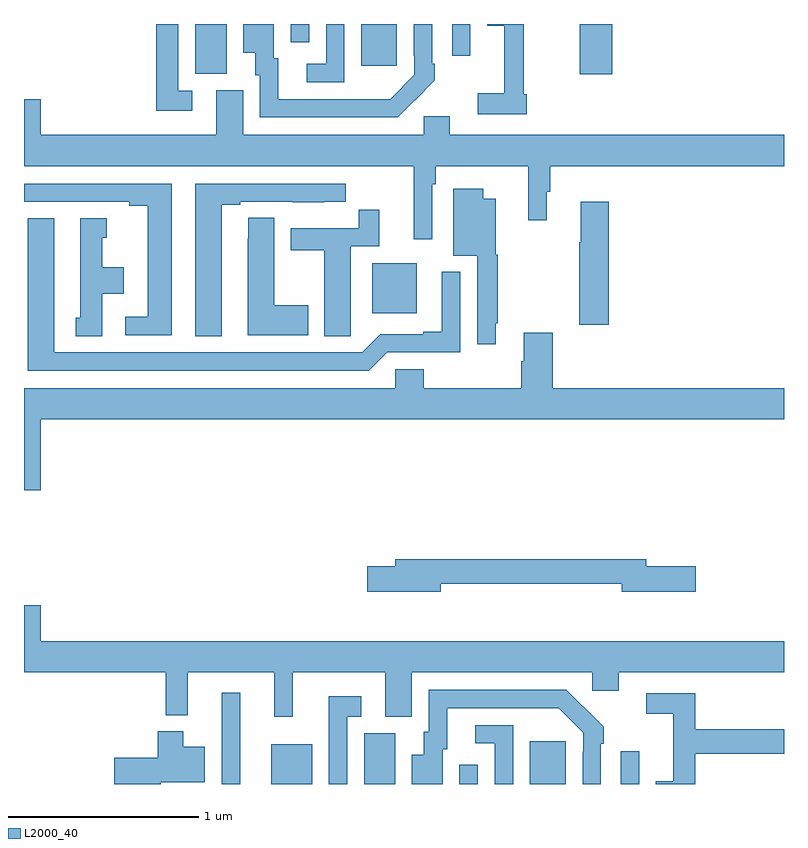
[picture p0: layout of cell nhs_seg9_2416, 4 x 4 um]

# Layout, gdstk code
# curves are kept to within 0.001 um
import gdstk
lib = gdstk.Library(unit=1e-6, precision=1e-09)
def R(c, l, rs):  # rectangles x0, y0, x1, y1
    for r in rs: c.add(gdstk.rectangle(r[:2], r[2:], *l))
def P(c, l, *ps):  # polygons
    for p in ps: c.add(gdstk.Polygon(p, *l))
L2000_40 = (2000, 40)

nhs_seg9_2416 = lib.new_cell('nhs_seg9_2416')
R(nhs_seg9_2416, L2000_40, [(250.041,1194.5,250.138,1194.979), (250.301,1194.5,250.516,1194.709), (250.79,1194.5,250.954,1194.768), (251.292,1194.5,251.388,1194.601), (251.663,1194.5,251.851,1194.724), (252.141,1194.5,252.237,1194.673), (250.832,1196.978,251.068,1197.241), (251.924,1198.236,252.095,1198.5), (249.902,1198.237,250.066,1198.5), (250.775,1198.281,250.963,1198.5), (251.253,1198.332,251.349,1198.5), (250.404,1198.404,250.5,1198.5)])
P(nhs_seg9_2416, L2000_40, [(249.886,1198.149),(249.813,1198.149),(249.813,1198.5),(249.697,1198.5),(249.697,1198.044),(249.886,1198.044)],
  [(251.645,1198.129),(251.63,1198.129),(251.63,1198.5),(251.438,1198.5),(251.438,1198.49),(251.528,1198.49),(251.528,1198.135),(251.388,1198.135),(251.388,1198.026),(251.645,1198.026)],
  [(251.057,1198.099),(251.058,1198.098),(251.163,1198.203),(251.163,1198.291),(251.148,1198.291),(251.148,1198.5),(251.052,1198.5),(251.052,1198.333),(251.055,1198.333),(251.055,1198.233),(250.927,1198.105),(250.823,1198.104),(250.339,1198.104),(250.339,1198.32),(250.315,1198.32),(250.315,1198.5),(250.154,1198.5),(250.154,1198.349),(250.217,1198.349),(250.217,1198.23),(250.242,1198.23),(250.242,1198.008),(250.966,1198.008)],
  [(250.686,1198.5),(250.59,1198.5),(250.59,1198.29),(250.488,1198.29),(250.488,1198.194),(250.686,1198.194)],
  [(251.148,1197.656),(251.168,1197.656),(251.168,1197.752),(251.653,1197.752),(251.653,1197.468),(251.752,1197.468),(251.752,1197.618),(251.771,1197.618),(251.771,1197.752),(253,1197.752),(253,1197.916),(251.242,1197.916),(251.242,1198.014),(251.103,1198.014),(251.103,1197.916),(250.153,1197.916),(250.153,1198.152),(250.013,1198.152),(250.013,1197.916),(249.088,1197.916),(249.088,1198.105),(249,1198.105),(249,1197.752),(251.051,1197.752),(251.051,1197.366),(251.148,1197.366)],
  [(250.042,1197.549),(250.138,1197.549),(250.138,1197.564),(250.414,1197.564),(250.414,1197.563),(250.58,1197.563),(250.58,1197.564),(250.693,1197.564),(250.693,1197.66),(249.902,1197.66),(249.902,1196.857),(250.042,1196.857)],
  [(249.778,1197.66),(249,1197.66),(249,1197.564),(249.554,1197.564),(249.554,1197.544),(249.65,1197.544),(249.65,1196.958),(249.534,1196.958),(249.534,1196.862),(249.778,1196.862)],
  [(251.482,1196.926),(251.494,1196.926),(251.494,1197.285),(251.482,1197.285),(251.482,1197.58),(251.416,1197.58),(251.416,1197.634),(251.258,1197.634),(251.258,1197.281),(251.385,1197.281),(251.385,1196.814),(251.482,1196.814)],
  [(252.077,1197.565),(251.93,1197.565),(251.93,1197.352),(251.923,1197.352),(251.923,1196.916),(252.077,1196.916)],
  [(250.719,1196.968),(250.72,1196.968),(250.72,1197.33),(250.871,1197.33),(250.871,1197.523),(250.762,1197.523),(250.762,1197.426),(250.403,1197.426),(250.403,1197.31),(250.58,1197.31),(250.58,1196.857),(250.719,1196.857)],
  [(250.495,1197.021),(250.318,1197.021),(250.318,1197.479),(250.179,1197.479),(250.179,1197.371),(250.178,1197.371),(250.178,1196.861),(250.495,1196.861)],
  [(250.911,1196.772),(251.295,1196.772),(251.295,1197.196),(251.198,1197.196),(251.198,1196.881),(251.102,1196.881),(251.102,1196.868),(250.875,1196.868),(250.779,1196.772),(249.16,1196.772),(249.16,1197.478),(249.02,1197.478),(249.02,1196.676),(250.815,1196.676)],
  [(249.412,1197.08),(249.526,1197.08),(249.526,1197.22),(249.412,1197.22),(249.412,1197.375),(249.436,1197.375),(249.436,1197.478),(249.296,1197.478),(249.296,1196.955),(249.272,1196.955),(249.272,1196.857),(249.412,1196.857)],
  [(249.088,1196.42),(253,1196.42),(253,1196.584),(251.783,1196.584),(251.783,1196.875),(251.63,1196.875),(251.63,1196.726),(251.618,1196.726),(251.618,1196.584),(251.105,1196.584),(251.105,1196.682),(250.953,1196.682),(250.953,1196.584),(249,1196.584),(249,1196.046),(249.088,1196.046)],
  [(251.194,1195.554),(252.146,1195.554),(252.146,1195.511),(252.535,1195.511),(252.535,1195.646),(252.274,1195.646),(252.274,1195.682),(250.955,1195.682),(250.955,1195.646),(250.806,1195.646),(250.806,1195.511),(251.194,1195.511)],
  [(251.041,1195.088),(251.991,1195.088),(251.991,1194.99),(252.13,1194.99),(252.13,1195.088),(253,1195.088),(253,1195.252),(249.088,1195.252),(249.088,1195.441),(249,1195.441),(249,1195.088),(249.745,1195.088),(249.745,1194.863),(249.863,1194.863),(249.863,1195.088),(250.316,1195.088),(250.316,1194.855),(250.415,1194.855),(250.415,1195.088),(250.901,1195.088),(250.901,1194.853),(251.041,1194.853)],
  [(251.203,1194.684),(251.227,1194.684),(251.227,1194.9),(251.815,1194.9),(251.943,1194.771),(251.943,1194.671),(251.94,1194.671),(251.94,1194.5),(252.036,1194.5),(252.036,1194.713),(252.051,1194.713),(252.051,1194.801),(251.854,1194.996),(251.13,1194.996),(251.13,1194.774),(251.105,1194.774),(251.105,1194.655),(251.042,1194.655),(251.042,1194.5),(251.203,1194.5)],
  [(252.533,1194.658),(253,1194.658),(253,1194.787),(252.533,1194.787),(252.533,1194.978),(252.276,1194.978),(252.276,1194.87),(252.416,1194.87),(252.416,1194.514),(252.326,1194.514),(252.326,1194.5),(252.533,1194.5)],
  [(250.701,1194.855),(250.774,1194.855),(250.774,1194.961),(250.605,1194.961),(250.605,1194.5),(250.701,1194.5)],
  [(251.574,1194.81),(251.376,1194.81),(251.376,1194.714),(251.478,1194.714),(251.478,1194.5),(251.574,1194.5)],
  [(249.72,1194.509),(249.952,1194.509),(249.952,1194.697),(249.838,1194.697),(249.838,1194.778),(249.704,1194.778),(249.704,1194.639),(249.474,1194.639),(249.474,1194.5),(249.72,1194.5)])

lib.write_gds('nhs_seg9_2416.gds')
